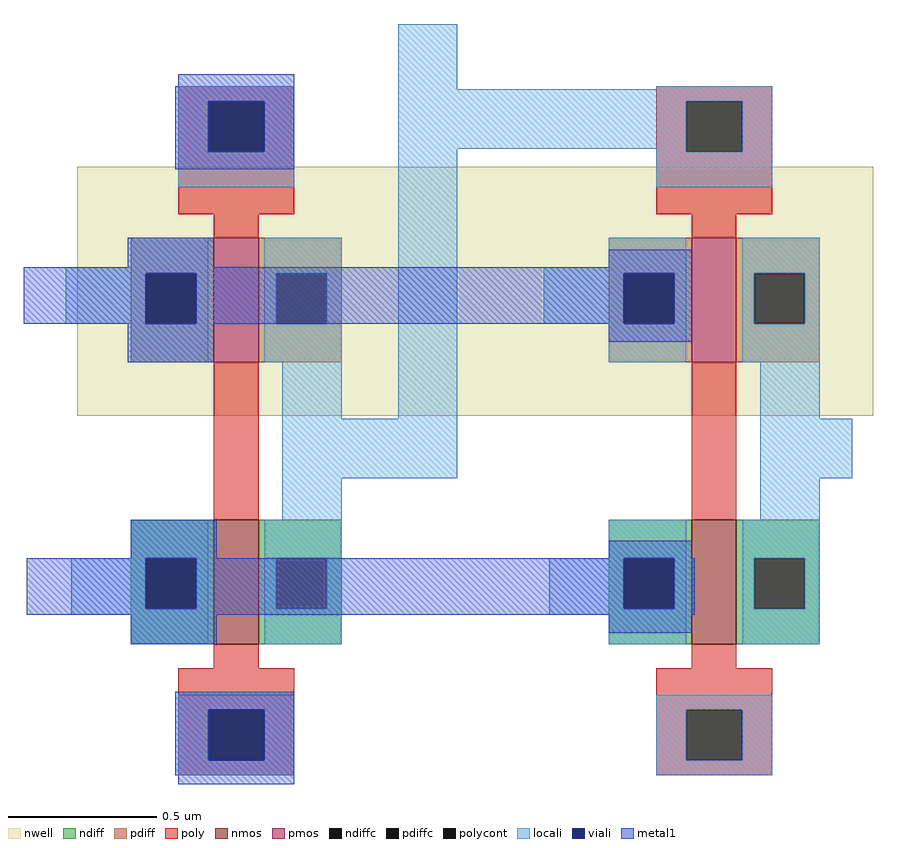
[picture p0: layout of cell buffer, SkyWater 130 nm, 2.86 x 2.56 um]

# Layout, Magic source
magic
tech sky130A
<< nwell >>
rect 27 121 272 205
<< nmos >>
rect 211 44 226 86
<< pmos >>
rect 211 139 226 181
<< ndiff >>
rect 183 73 211 86
rect 183 56 188 73
rect 205 56 211 73
rect 183 44 211 56
rect 226 73 254 86
rect 226 56 232 73
rect 249 56 254 73
rect 226 44 254 56
<< pdiff >>
rect 183 169 211 181
rect 183 152 188 169
rect 205 152 211 169
rect 183 139 211 152
rect 226 169 254 181
rect 226 152 232 169
rect 249 152 254 169
rect 226 139 254 152
<< ndiffc >>
rect 188 56 205 73
rect 232 56 249 73
<< pdiffc >>
rect 188 152 205 169
rect 232 152 249 169
<< poly >>
rect 199 227 238 232
rect 199 210 209 227
rect 228 210 238 227
rect 199 189 238 210
rect 211 181 226 189
rect 211 86 226 139
rect 211 36 226 44
rect 199 22 238 36
rect 199 5 209 22
rect 228 5 238 22
rect 199 0 238 5
<< polycont >>
rect 209 210 228 227
rect 209 5 228 22
<< locali >>
rect 112 231 132 253
rect 199 231 238 232
rect 112 227 238 231
rect 112 211 209 227
rect 112 120 132 211
rect 199 210 209 211
rect 228 210 238 227
rect 199 198 238 210
rect 183 171 209 181
rect 161 169 209 171
rect 161 152 188 169
rect 205 152 209 169
rect 183 139 209 152
rect 228 169 254 181
rect 228 152 232 169
rect 249 152 254 169
rect 228 139 254 152
rect 84 100 132 120
rect 234 120 254 139
rect 234 100 265 120
rect 234 86 254 100
rect 183 73 209 86
rect 163 56 188 73
rect 205 56 209 73
rect 163 54 209 56
rect 183 44 209 54
rect 228 73 254 86
rect 228 56 232 73
rect 249 56 254 73
rect 228 44 254 56
rect 199 22 238 27
rect 199 5 209 22
rect 228 5 238 22
rect 199 0 238 5
<< viali >>
rect 48 210 67 227
rect 27 152 44 169
rect 188 152 205 169
rect 27 56 44 73
rect 188 56 205 73
rect 48 5 67 22
<< metal1 >>
rect 38 227 77 236
rect 38 210 48 227
rect 67 210 77 227
rect 38 205 77 210
rect 22 171 50 176
rect 183 171 211 177
rect -14 169 211 171
rect -14 152 27 169
rect 44 152 188 169
rect 205 152 211 169
rect 22 145 50 152
rect 183 146 211 152
rect 22 73 50 79
rect 183 73 211 79
rect -13 56 27 73
rect 44 56 188 73
rect 205 56 212 73
rect -13 54 212 56
rect 22 48 50 54
rect 183 48 211 54
rect 38 22 77 27
rect 38 5 48 22
rect 67 5 77 22
rect 38 -3 77 5
use inv_lp  inv_lp_0
transform 1 0 61 0 1 42
box -61 -42 50 190
<< end >>

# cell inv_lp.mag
magic
tech sky130A
<< nwell >>
rect -57 79 50 163
<< nmos >>
rect -11 2 4 44
<< pmos >>
rect -11 97 4 139
<< ndiff >>
rect -39 31 -11 44
rect -39 14 -34 31
rect -17 14 -11 31
rect -39 2 -11 14
rect 4 31 32 44
rect 4 14 10 31
rect 27 14 32 31
rect 4 2 32 14
<< pdiff >>
rect -39 127 -11 139
rect -39 110 -34 127
rect -17 110 -11 127
rect -39 97 -11 110
rect 4 127 32 139
rect 4 110 10 127
rect 27 110 32 127
rect 4 97 32 110
<< ndiffc >>
rect -34 14 -17 31
rect 10 14 27 31
<< pdiffc >>
rect -34 110 -17 127
rect 10 110 27 127
<< poly >>
rect -23 185 16 190
rect -23 168 -13 185
rect 6 168 16 185
rect -23 147 16 168
rect -11 139 4 147
rect -11 44 4 97
rect -11 -6 4 2
rect -23 -20 16 -6
rect -23 -37 -13 -20
rect 6 -37 16 -20
rect -23 -42 16 -37
<< polycont >>
rect -13 168 6 185
rect -13 -37 6 -20
<< locali >>
rect -23 185 16 190
rect -23 168 -13 185
rect 6 168 16 185
rect -23 156 16 168
rect -39 129 -13 139
rect -61 127 -13 129
rect -61 110 -34 127
rect -17 110 -13 127
rect -39 97 -13 110
rect 6 127 32 139
rect 6 110 10 127
rect 27 110 32 127
rect 6 97 32 110
rect 12 78 32 97
rect 12 58 43 78
rect 12 44 32 58
rect -39 31 -13 44
rect -59 14 -34 31
rect -17 14 -13 31
rect -59 12 -13 14
rect -39 2 -13 12
rect 6 31 32 44
rect 6 14 10 31
rect 27 14 32 31
rect 6 2 32 14
rect -23 -20 16 -15
rect -23 -37 -13 -20
rect 6 -37 16 -20
rect -23 -42 16 -37
<< viali >>
rect -13 168 6 185
rect -34 110 -17 127
rect -34 14 -17 31
rect -13 -37 6 -20
<< metal1 >>
rect -24 185 16 190
rect -24 168 -13 185
rect 6 168 16 185
rect -24 162 16 168
rect -40 127 -11 139
rect -40 110 -34 127
rect -17 110 -11 127
rect -40 97 -11 110
rect -39 31 -10 44
rect -39 14 -34 31
rect -17 14 -10 31
rect -39 2 -10 14
rect -24 -20 16 -14
rect -24 -37 -13 -20
rect 6 -37 16 -20
rect -24 -42 16 -37
<< end >>
